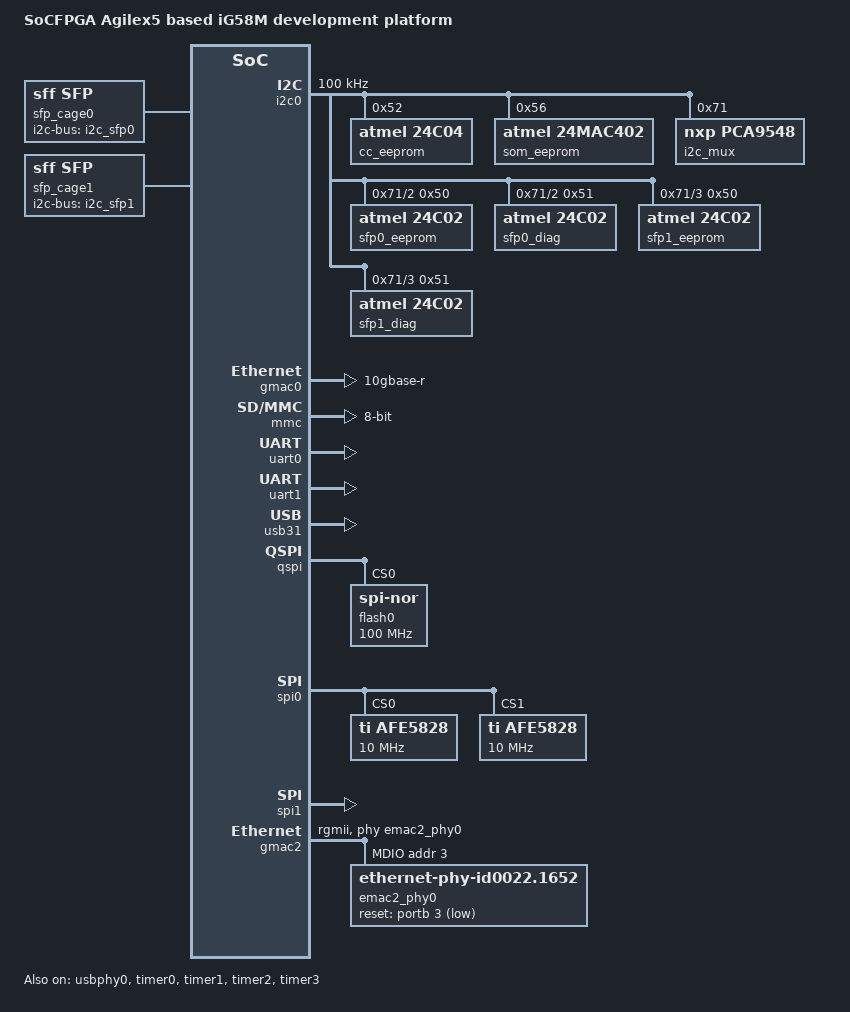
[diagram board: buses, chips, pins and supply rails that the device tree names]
// SPDX-License-Identifier: GPL-2.0
/*
 * Copyright (C) 2025 iWave Global
 * IP Support <support.ip@iwave-global.com>
 */
#include "socfpga_agilex5.dtsi"
#include <dt-bindings/interrupt-controller/irq.h>

/ {
	model = "SoCFPGA Agilex5 based iG58M development platform";

	aliases {
		serial0 = &uart0;
		ethernet0 = &gmac2;
		i2c0 = &i2c0;
	};

	memory {
		device_type = "memory";
		/* We expect the bootloader to fill in the reg */
		reg = <0 0 0 0>;
	};

	soc {
		clocks {
			osc1 {
				clock-frequency = <25000000>;
			};
		};
	};

	board_config_load_tftp {
		gpios =  <&porta 9 GPIO_ACTIVE_LOW>;
	};

	board_config_test_out {
		gpios =  <&porta 8 GPIO_ACTIVE_LOW>;
	};


	pmic {
		/* By default, 1.8V is set on PMIC-1 LDO2, LDO3 & LDO4.
		* The supported voltage range is from 1.8V to 3.3V in the steps of 0.05V (50mV).
		*
		* Modify the pmic-ldo*_millivolt to the desired voltage level.
		* Mention the voltage in millivolts.
		* For example:
		*  - 2.0V  => 2000
		*  - 2.5V  => 2500
		*
		* Do not modify this if you are unsure.
		*/

		pmic-ldo2-millivolt = <1800>;
		pmic-ldo3-millivolt = <1800>;
		pmic-ldo4-millivolt = <1800>;

		/*
		* By default, 1.2V is set on PMIC-1 BUCK3.
		* The supported voltage range is from 1.2V to 1.3V in the steps of 0.02V (20mV).
		*
		* Modify the pmic-vbuck3-millivolt to the desired voltage level (millivolts).
		* For example:
		*  - 1.3V => 1300
		*
		* Do not modify this if you are unsure.
		*/

		pmic-vbuck3-millivolt = <1300>;
	};

};

&gpio0 {
	status = "okay";
     };

&gpio1 {
	status = "okay";
     };

/* Reference your master I2C 0 controller */
  &i2c0 {
    status = "okay";
    clock-frequency = <100000>; /* 100 kHz Standard Mode */

	cc_eeprom: eeprom@52 {
		compatible = "atmel,24c04";
		reg = <0x52>;
		pagesize = <16>;
		address-width = <8>;
		size = <512>;
	};

	som_eeprom: eeprom@56 {
		compatible = "atmel,24mac402";
	        reg = <0x56>;
        	pagesize = <16>;
	        address-width = <8>;
	        size = <256>;
       };

	i2c_mux: msd9548@71 {
        compatible = "nxp,pca9548";
        reg = <0x71>;
        #address-cells = <1>;
        #size-cells = <0>;

        i2c_sfp0: i2c@2 {
            #address-cells = <1>;
            #size-cells = <0>;
            reg = <2>;
            
            sfp0_eeprom: eeprom@50 {
                compatible = "atmel,24c02"; /* SFP A0h is effectively a 256-byte 24c02 EEPROM */
                reg = <0x50>;
            };
            
            sfp0_diag: eeprom@51 {
                compatible = "atmel,24c02"; /* SFP A2h Diagnostic Page */
                reg = <0x51>;
            };
        };

        i2c_sfp1: i2c@3 {
            #address-cells = <1>;
            #size-cells = <0>;
            reg = <3>;

            sfp1_eeprom: eeprom@50 {
                compatible = "atmel,24c02";
                reg = <0x50>;
            };

            sfp1_diag: eeprom@51 {
                compatible = "atmel,24c02";
                reg = <0x51>;
            };
        };
    };
};


 / {
    sfp_cage0: sfp-cage0 {
        compatible = "sff,sfp";
        i2c-bus = <&i2c_sfp0>;   /* Points directly to Mux Channel 2 */
    };

    sfp_cage1: sfp-cage1 {
        compatible = "sff,sfp";
        i2c-bus = <&i2c_sfp1>;   /* Points directly to Mux Channel 3 */
    };
};

/* Link the SFP Cage framework directly to your Agilex 5 Altera 10G MAC instance */
 &gmac0 {
    sfp = <&sfp_cage0>;
    phy-mode = "10gbase-r"; /* Configures the MAC for 10Gb SerDes streaming */
 };


&mmc {
	status = "okay";
	bus-width = <8>;
	sdhci-caps = <0x00000000 0x00040000>;
	sdhci-caps-mask = <0x00000000 0x00040000>;
	cap-mmc-highspeed;
};

//&combophy0 {
//	status = "okay";
//};

&uart0 {
	status = "okay";
};

&uart1 {
	status = "okay";
};

&usbphy0 {
	status = "okay";
};

&usb31 {
	status = "okay";
};

&timer0 {
	status = "okay";
};

&timer1 {
	status = "okay";
};

&timer2 {
	status = "okay";
};

&timer3 {
	status = "okay";
};

&qspi {
        status = "okay";

        flash0: flash@0 {
                #address-cells = <1>;
                #size-cells = <1>;
                compatible = "jedec,spi-nor", "micron,mt25qu01g";
                reg = <0>;
                spi-max-frequency = <100000000>;
                spi-tx-bus-width = <4>;
                spi-rx-bus-width = <4>;
                m25p,fast-read;
                cdns,page-size = <256>;
                cdns,block-size = <16>;
                cdns,read-delay = <2>;
                cdns,tshsl-ns = <50>;
                cdns,tsd2d-ns = <50>;
                cdns,tchsh-ns = <4>;
                cdns,tslch-ns = <4>;
        };
};

	/* This is your actual physical AFE SPI block */
&spi0 {
	status = "okay";
	#address-cells = <1>;
	#size-cells = <0>;
	/delete-property/ dmas;
	/delete-property/ dma-names;

	/* Use linux,spidev fallback so U-Boot creates raw transfer nodes */
	afe5828@0 {
		compatible = "ti,afe5828", "linux,spidev";
		reg = <0x00000000>;
		spi-max-frequency = <0x00989680>;
		bootph-all;
	};
	afe5828@1 {
		compatible = "ti,afe5828", "linux,spidev";
		reg = <0x00000001>;
		spi-max-frequency = <0x00989680>;
		bootph-all;
	};
};

&spi1 { 
    status = "okay";
	#address-cells = <1>;
	#size-cells = <0>;
	/delete-property/ dmas;
	/delete-property/ dma-names;

//    tpm@0 {
//        compatible = "st,st33htpm-spi", "tcg,tpm_tis-spi", "tcg,tpm-tis-spi";
//        reg = <0>; /* Chip select 0 */
//        spi-max-frequency = <10000000>; /* 10 MHz */
//        /* Optional: If you use a hardware reset or PIRQ pin */
//        /* reset-gpios = <&gpio... GPIO_ACTIVE_LOW>; */
//        /* interrupts-extended = <&gpio... IRQ_TYPE_EDGE_FALLING>; */
//    };

};

&gmac2 {
	status = "okay";
	phy-mode = "rgmii";
	phy-handle = <&emac2_phy0>;
	mdio0 {
	        #address-cells = <1>;
		#size-cells = <0>;
               compatible = "snps,dwmac-mdio";

		emac2_phy0: ethernet-phy@3 {
		        reg = <0x03>;
                       compatible = "ethernet-phy-id0022.1652", "ethernet-phy-ieee802.3-c22";
		        reset-gpios = <&portb 3 GPIO_ACTIVE_LOW>;
                       reset-assert-us = <10000>;
                       reset-deassert-us = <100000>;
		};
	};
};

